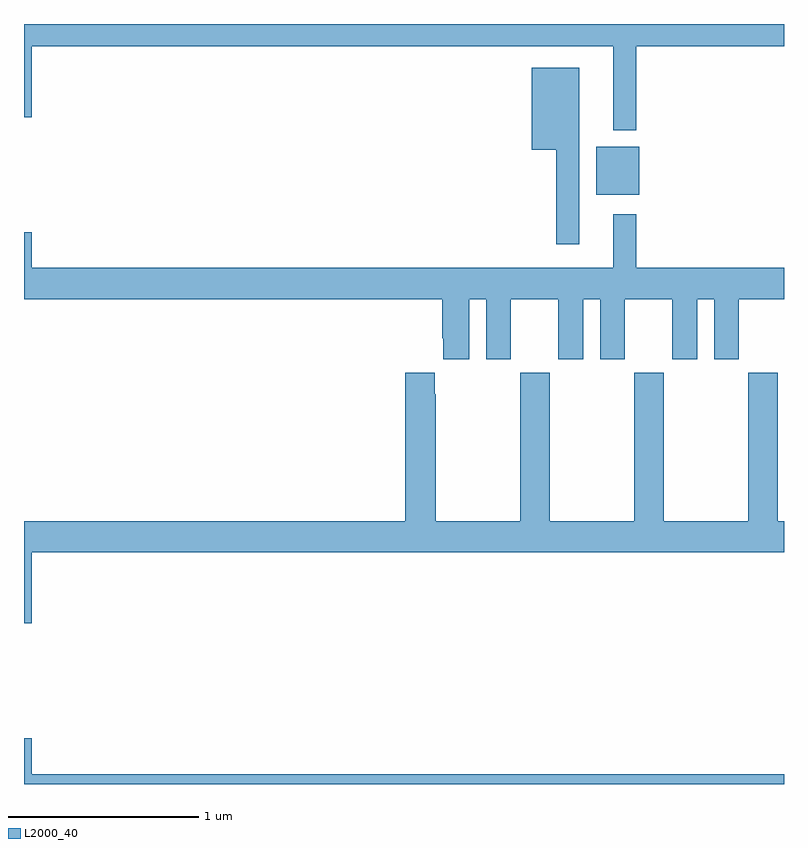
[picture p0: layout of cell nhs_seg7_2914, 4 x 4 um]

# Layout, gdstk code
import gdstk
lib = gdstk.Library(unit=1e-6, precision=1e-09)
def R(c, l, rs):  # rectangles x0, y0, x1, y1
    for r in rs: c.add(gdstk.rectangle(r[:2], r[2:], *l))
def P(c, l, *ps):  # polygons
    for p in ps: c.add(gdstk.Polygon(p, *l))
L2000_40 = (2000, 40)

nhs_seg7_2914 = lib.new_cell('nhs_seg7_2914')
R(nhs_seg7_2914, L2000_40, [(300.011,1065.101,300.238,1065.355)])
P(nhs_seg7_2914, L2000_40, [(300.223,1065.884),(301,1065.884),(301,1066),(297,1066),(297,1065.51),(297.04,1065.51),(297.04,1065.884),(300.101,1065.884),(300.101,1065.44),(300.223,1065.44)],
  [(299.923,1065.769),(299.672,1065.769),(299.672,1065.338),(299.802,1065.338),(299.802,1064.841),(299.923,1064.841)],
  [(299.344,1064.552),(299.432,1064.552),(299.432,1064.235),(299.563,1064.235),(299.563,1064.552),(299.813,1064.552),(299.813,1064.235),(299.944,1064.235),(299.944,1064.552),(300.032,1064.552),(300.032,1064.235),(300.163,1064.235),(300.163,1064.552),(300.413,1064.552),(300.413,1064.235),(300.544,1064.235),(300.544,1064.552),(300.632,1064.552),(300.632,1064.235),(300.763,1064.235),(300.763,1064.552),(301,1064.552),(301,1064.716),(300.223,1064.716),(300.223,1064.998),(300.101,1064.998),(300.101,1064.716),(297.04,1064.716),(297.04,1064.905),(297,1064.905),(297,1064.552),(299.201,1064.552),(299.201,1064.347),(299.207,1064.347),(299.207,1064.235),(299.344,1064.235)],
  [(297.04,1063.22),(301,1063.22),(301,1063.384),(300.966,1063.384),(300.966,1064.164),(300.811,1064.164),(300.811,1063.384),(300.366,1063.384),(300.366,1064.164),(300.211,1064.164),(300.211,1063.384),(299.766,1063.384),(299.766,1064.164),(299.611,1064.164),(299.611,1063.384),(299.166,1063.384),(299.166,1064.051),(299.161,1064.051),(299.161,1064.164),(299.006,1064.164),(299.006,1063.384),(297,1063.384),(297,1062.846),(297.04,1062.846)],
  [(301,1062.052),(297.04,1062.052),(297.04,1062.241),(297,1062.241),(297,1062),(301,1062)])

lib.write_gds('nhs_seg7_2914.gds')
